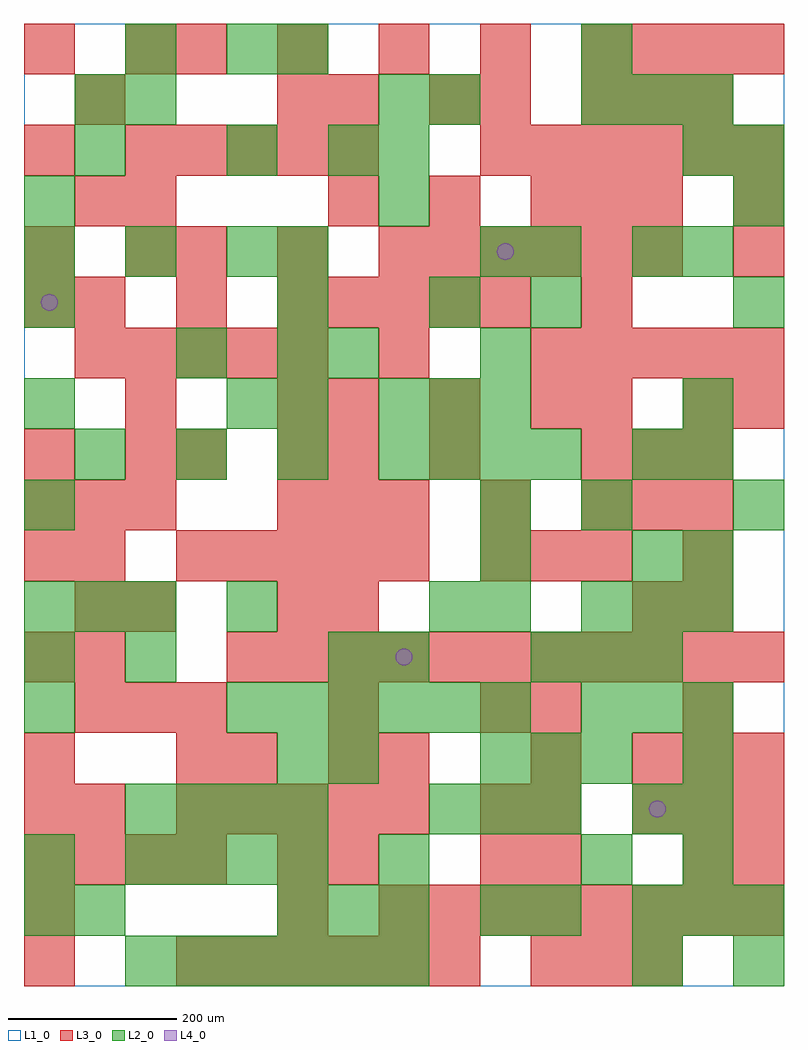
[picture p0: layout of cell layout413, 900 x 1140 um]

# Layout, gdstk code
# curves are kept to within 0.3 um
import gdstk
lib = gdstk.Library(unit=1e-6, precision=1e-09)
def R(c, l, rs):  # rectangles x0, y0, x1, y1
    for r in rs: c.add(gdstk.rectangle(r[:2], r[2:], *l))
def A(c, l, x, y, w, h, nx, ny, dx, dy):  # array of equal rectangles
    R(c, l, [(x+i*dx, y+j*dy, x+i*dx+w, y+j*dy+h) for i in range(nx) for j in range(ny)])
def P(c, l, *ps):  # polygons
    for p in ps: c.add(gdstk.Polygon(p, *l))
L1_0 = (1, 0)
L2_0 = (2, 0)
L3_0 = (3, 0)
L4_0 = (4, 0)

layout413 = lib.new_cell('layout413')
R(layout413, L1_0, [(0,0,900,1140)])
A(layout413, L2_0, 120, 0, 60, 60, 6, 1, 60, 0)
A(layout413, L2_0, 300, 60, 60, 60, 3, 1, 60, 0)
A(layout413, L2_0, 720, 60, 60, 60, 3, 1, 60, 0)
A(layout413, L2_0, 120, 120, 60, 60, 4, 2, 60, 60)
A(layout413, L2_0, 780, 120, 60, 60, 1, 3, 0, 60)
A(layout413, L2_0, 480, 180, 60, 60, 3, 2, 60, 420)
A(layout413, L2_0, 540, 240, 60, 60, 3, 1, 60, 0)
A(layout413, L2_0, 240, 300, 60, 60, 6, 1, 60, 0)
A(layout413, L2_0, 660, 300, 60, 60, 3, 2, 60, 120)
A(layout413, L2_0, 600, 360, 60, 60, 3, 1, 60, 0)
A(layout413, L2_0, 0, 420, 60, 60, 3, 1, 60, 0)
A(layout413, L2_0, 540, 420, 60, 60, 1, 3, 0, 60)
A(layout413, L2_0, 0, 540, 60, 60, 1, 3, 0, 120)
A(layout413, L2_0, 60, 600, 60, 60, 4, 1, 120, 0)
A(layout413, L2_0, 300, 660, 60, 60, 1, 4, 0, 60)
A(layout413, L2_0, 420, 660, 60, 60, 3, 1, 60, 0)
A(layout413, L2_0, 0, 840, 60, 60, 3, 1, 120, 0)
A(layout413, L2_0, 0, 900, 60, 60, 3, 1, 420, 0)
A(layout413, L2_0, 660, 1020, 60, 60, 3, 1, 60, 0)
R(layout413, L2_0, [(720,0,780,60), (840,0,900,60), (0,60,60,120), (60,60,120,120), (540,60,600,120), (600,60,660,120), (0,120,60,180), (420,120,480,180), (660,120,720,180), (720,180,780,240), (300,240,360,300), (360,240,420,300), (0,300,60,360), (0,360,60,420), (120,360,180,420), (360,360,420,420), (420,360,480,420), (240,420,300,480), (480,420,540,480), (720,480,780,540), (780,480,840,540), (660,540,720,600), (840,540,900,600), (720,600,780,660), (780,600,840,660), (240,660,300,720), (780,660,840,720), (180,720,240,780), (360,720,420,780), (540,720,600,780), (480,780,540,840), (600,780,660,840), (840,780,900,840), (540,840,600,900), (600,840,660,900), (720,840,780,900), (780,840,840,900), (60,960,120,1020), (240,960,300,1020), (360,960,420,1020), (420,960,480,1020), (780,960,840,1020), (840,960,900,1020), (60,1020,120,1080), (120,1020,180,1080), (420,1020,480,1080), (480,1020,540,1080), (120,1080,180,1140), (240,1080,300,1140), (300,1080,360,1140), (660,1080,720,1140)])
A(layout413, L3_0, 180, 0, 60, 60, 6, 1, 60, 0)
A(layout413, L3_0, 600, 0, 60, 60, 3, 1, 60, 0)
A(layout413, L3_0, 420, 60, 60, 60, 8, 1, 60, 0)
A(layout413, L3_0, 0, 120, 60, 60, 4, 1, 60, 0)
A(layout413, L3_0, 600, 120, 60, 60, 1, 4, 0, 60)
A(layout413, L3_0, 180, 180, 60, 60, 5, 2, 60, 300)
A(layout413, L3_0, 720, 180, 60, 60, 3, 2, 60, 60)
A(layout413, L3_0, 0, 240, 60, 60, 1, 4, 0, 120)
A(layout413, L3_0, 60, 300, 60, 60, 3, 1, 60, 0)
A(layout413, L3_0, 60, 360, 60, 60, 1, 3, 0, 60)
A(layout413, L3_0, 240, 360, 60, 60, 11, 1, 60, 0)
A(layout413, L3_0, 540, 480, 60, 60, 3, 1, 60, 0)
A(layout413, L3_0, 0, 540, 60, 60, 3, 1, 60, 0)
A(layout413, L3_0, 300, 540, 60, 60, 3, 1, 60, 0)
A(layout413, L3_0, 660, 540, 60, 60, 3, 2, 60, 60)
A(layout413, L3_0, 360, 660, 60, 60, 3, 2, 120, 240)
A(layout413, L3_0, 660, 660, 60, 60, 1, 3, 0, 120)
A(layout413, L3_0, 60, 720, 60, 60, 5, 1, 60, 0)
A(layout413, L3_0, 600, 720, 60, 60, 5, 1, 60, 0)
A(layout413, L3_0, 60, 780, 60, 60, 3, 1, 120, 0)
A(layout413, L3_0, 360, 780, 60, 60, 4, 1, 60, 0)
A(layout413, L3_0, 0, 840, 60, 60, 1, 3, 0, 120)
A(layout413, L3_0, 180, 840, 60, 60, 3, 1, 120, 0)
A(layout413, L3_0, 480, 840, 60, 60, 5, 1, 60, 0)
A(layout413, L3_0, 120, 960, 60, 60, 5, 1, 60, 0)
A(layout413, L3_0, 540, 960, 60, 60, 6, 1, 60, 0)
A(layout413, L3_0, 660, 1020, 60, 60, 3, 1, 60, 0)
A(layout413, L3_0, 180, 1080, 60, 60, 5, 1, 120, 0)
A(layout413, L3_0, 720, 1080, 60, 60, 3, 1, 60, 0)
R(layout413, L3_0, [(0,0,60,60), (0,60,60,120), (300,60,360,120), (300,120,360,180), (360,120,420,180), (540,120,600,180), (780,120,840,180), (840,120,900,180), (0,180,60,240), (60,180,120,240), (540,180,600,240), (180,240,240,300), (240,240,300,300), (360,240,420,300), (420,240,480,300), (360,300,420,360), (540,300,600,360), (780,300,840,360), (120,420,180,480), (300,420,360,480), (360,420,420,480), (720,420,780,480), (780,420,840,480), (780,480,840,540), (540,540,600,600), (120,600,180,660), (180,600,240,660), (300,600,360,660), (360,600,420,660), (480,600,540,660), (120,660,180,720), (300,660,360,720), (780,660,840,720), (840,660,900,720), (420,720,480,780), (0,780,60,840), (120,840,180,900), (840,840,900,900), (60,900,120,960), (120,900,180,960), (720,900,780,960), (840,900,900,960), (60,1020,120,1080), (300,1020,360,1080), (360,1020,420,1080), (480,1020,540,1080), (540,1020,600,1080), (120,1080,180,1140)])
P(layout413, L4_0, [(40,810),(39.239,813.827),(37.071,817.071),(33.827,819.239),(30,820),(26.173,819.239),(22.929,817.071),(20.761,813.827),(20,810),(20.761,806.173),(22.929,802.929),(26.173,800.761),(30,800),(33.827,800.761),(37.071,802.929),(39.239,806.173)],
  [(460,390),(459.239,393.827),(457.071,397.071),(453.827,399.239),(450,400),(446.173,399.239),(442.929,397.071),(440.761,393.827),(440,390),(440.761,386.173),(442.929,382.929),(446.173,380.761),(450,380),(453.827,380.761),(457.071,382.929),(459.239,386.173)],
  [(580,870),(579.239,873.827),(577.071,877.071),(573.827,879.239),(570,880),(566.173,879.239),(562.929,877.071),(560.761,873.827),(560,870),(560.761,866.173),(562.929,862.929),(566.173,860.761),(570,860),(573.827,860.761),(577.071,862.929),(579.239,866.173)],
  [(760,210),(759.239,213.827),(757.071,217.071),(753.827,219.239),(750,220),(746.173,219.239),(742.929,217.071),(740.761,213.827),(740,210),(740.761,206.173),(742.929,202.929),(746.173,200.761),(750,200),(753.827,200.761),(757.071,202.929),(759.239,206.173)])

lib.write_gds('layout413.gds')
